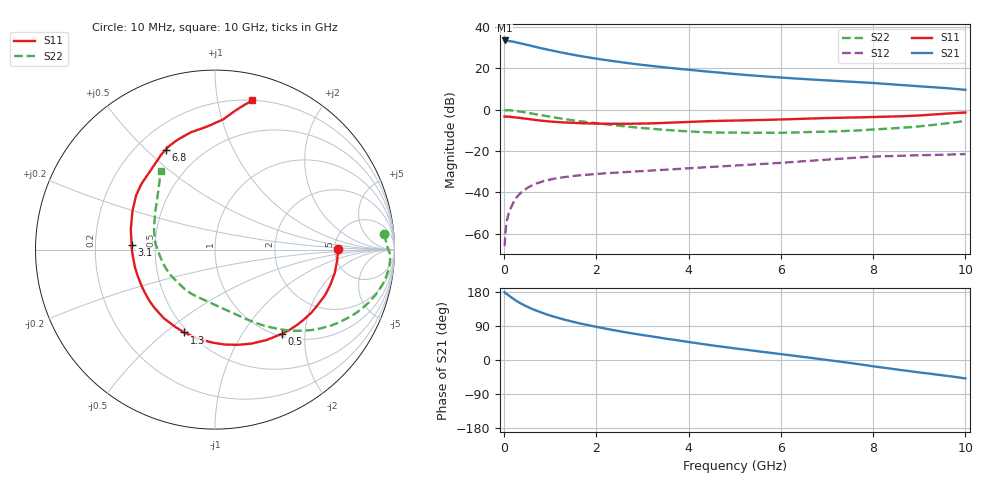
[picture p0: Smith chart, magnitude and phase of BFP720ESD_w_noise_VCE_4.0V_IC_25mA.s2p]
! Infineon Technologies  Discrete & RF Semiconductors
! BFP720ESD
! VCE =  4.0 V,  IC =  25 mA
! Common Emitter S-Parameters:  Jan 2016
# GHz  S  MA  R  50
!  f  S11  S21  S12  S22
! GHz  MAG  ANG  MAG  ANG  MAG  ANG  MAG  ANG
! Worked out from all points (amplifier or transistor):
!   233 points, 10 MHz to 10 GHz, reference 50 ohm
!   highest |S21| = 33.5 dB at 10 MHz (marker M1)
!   |S21| within 3 dB of that: start of sweep to 655.4 MHz
!   unconditionally stable (mu >= 1): start of sweep to 17.5 MHz; 4.158 GHz to 6.669 GHz
!   at 200 MHz: K = 0.23, MSG = 38.9 dB, |S12| = -44.9 dB
!   at 1.74 GHz: K = 0.63, MSG = 28.6 dB, |S12| = -31.6 dB
!   at 10 GHz: K = 0.66, MSG = 15.6 dB, |S12| = -21.5 dB
!   lowest NFmin = 1.07 dB at 450 MHz
!   S11 on the Smith chart (normalised r, x): 10 MHz: 5.31, +0.05; 500 MHz: 1.04, -1.53; 1.3 GHz: 0.48, -0.58; 3.1 GHz: 0.37, +0.02; 6.8 GHz: 0.32, +0.57; 10 GHz: 0.20, +1.26
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0.01  0.683 0.2  47.46 179.0  0.0005 46.9  0.9451 5.3
0.02  0.6847 -1.7  46.6 176.9  0.0008 66.7  0.9635 0.4
0.1  0.6798 -11.2  46.05 170.4  0.0031 75.7  0.9765 -5.7
0.15  0.6717 -17.0  45.25 165.7  0.0043 76.9  0.9669 -8.8
0.24  0.6538 -26.5  43.2 158.0  0.0067 73.4  0.9401 -14.0
0.3  0.6427 -32.7  41.84 153.4  0.0083 71.6  0.9197 -17.1
0.36  0.629 -38.6  40.33 149.3  0.0097 69.4  0.8976 -20.0
0.5  0.5989 -51.7  36.95 140.6  0.0128 64.5  0.8453 -26.0
0.7  0.5617 -68.8  32.74 130.1  0.0164 58.3  0.7731 -33.2
0.9  0.5316 -84.2  29.17 121.3  0.0193 53.2  0.7071 -39.2
1.1  0.5086 -98.0  26.11 113.6  0.0216 49.2  0.6477 -44.3
1.3  0.4926 -110.4  23.55 106.7  0.0234 45.9  0.5969 -48.7
1.68  0.4722 -130.2  19.69 95.6  0.0261 41.6  0.5212 -55.5
1.9  0.4652 -140.2  17.91 89.8  0.0274 40.0  0.4865 -59.0
2.3  0.4551 -156.0  15.35 80.4  0.0295 37.8  0.4333 -64.7
3.1  0.4653 177.0  11.8 64.1  0.0333 35.7  0.3525 -77.2
3.4  0.477 168.8  10.83 58.4  0.0348 35.3  0.3316 -82.3
4  0.5077 154.9  9.272 47.4  0.0383 34.7  0.2989 -94.0
5.1  0.5513 137.0  7.152 29.2  0.0453 32.2  0.2781 -120.0
6.8  0.6205 116.3  5.281 3.3  0.0599 26.6  0.2914 -157.7
8.4  0.6822 95.1  4.114 -23.2  0.0761 12.8  0.3536 163.5
10  0.8573 76.0  3.032 -48.6  0.0842 -0.2  0.5341 124.4
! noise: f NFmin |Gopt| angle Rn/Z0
0.45  1.07  0.02  -141  0.18
0.9  1.1  0.05  -148  0.12
1.9  1.13  0.08  -133  0.15
2.4  1.13  0.1  -124  0.13
5.5  1.29  0.28  -102  0.15
10  1.68  0.53  -84  0.53
